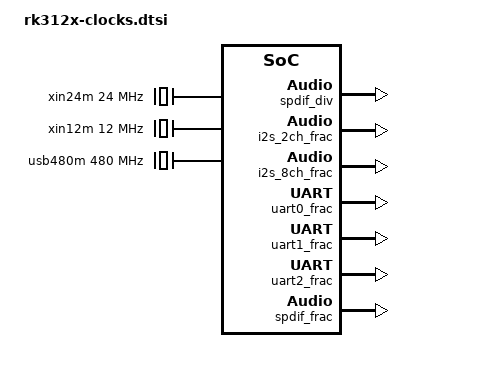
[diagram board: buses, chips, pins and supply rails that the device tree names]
/*
 * Copyright (C) 2014 ROCKCHIP, Inc.
 *
 * This program is free software; you can redistribute it and/or modify
 * it under the terms of the GNU General Public License as published by
 * the Free Software Foundation; either version 2 of the License, or
 * (at your option) any later version.
 *
 * This program is distributed in the hope that it will be useful,
 * but WITHOUT ANY WARRANTY; without even the implied warranty of
 * MERCHANTABILITY or FITNESS FOR A PARTICULAR PURPOSE.  See the
 * GNU General Public License for more details.
 */
#include <dt-bindings/clock/rockchip,rk312x.h>

/{

	clocks {
		compatible = "rockchip,rk-clocks";
		#address-cells = <1>;
		#size-cells = <1>;
		ranges = <0x0  0x20000000  0x1f0>;

		fixed_rate_cons {
			compatible = "rockchip,rk-fixed-rate-cons";

			xin24m: xin24m {
				compatible = "rockchip,rk-fixed-clock";
				clock-output-names = "xin24m";
				clock-frequency = <24000000>;
				#clock-cells = <0>;
			};

			xin12m: xin12m {
				compatible = "rockchip,rk-fixed-clock";
				clocks = <&xin24m>;
				clock-output-names = "xin12m";
				clock-frequency = <12000000>;
				#clock-cells = <0>;
			};

			gmac_clkin: rmii_clkin {
				compatible = "rockchip,rk-fixed-clock";
				clock-output-names = "gmac_clkin";
				clock-frequency = <0>;
				#clock-cells = <0>;
			};

			usb480m: usb480m {
				compatible = "rockchip,rk-fixed-clock";
				clock-output-names = "usb480m";
				clock-frequency = <480000000>;
				#clock-cells = <0>;
			};

			i2s_clkin: i2s_clkin {
				compatible = "rockchip,rk-fixed-clock";
				clock-output-names = "i2s_clkin";
				clock-frequency = <0>;
				#clock-cells = <0>;
			};

			jtag_tck: jtag_tck {
				compatible = "rockchip,rk-fixed-clock";
				clock-output-names = "jtag_tck";
				clock-frequency = <0>;
				#clock-cells = <0>;
			};

			pclkin_cif: pclkin_cif {
				compatible = "rockchip,rk-fixed-clock";
				clock-output-names = "pclkin_cif";
				clock-frequency = <0>;
				#clock-cells = <0>;
			};

			clk_tsp_in: clk_tsp_in {
				compatible = "rockchip,rk-fixed-clock";
				clock-output-names = "clk_tsp_in";
				clock-frequency = <0>;
				#clock-cells = <0>;
			};


			dummy: dummy {
				compatible = "rockchip,rk-fixed-clock";
				clock-output-names = "dummy";
				clock-frequency = <0>;
				#clock-cells = <0>;
			};

			dummy_cpll: dummy_cpll {
				compatible = "rockchip,rk-fixed-clock";
				clock-output-names = "dummy_cpll";
				clock-frequency = <0>;
				#clock-cells = <0>;
			};

		};

		fixed_factor_cons {
			compatible = "rockchip,rk-fixed-factor-cons";

			clk_gpll_div2: clk_gpll_div2 {
				compatible = "rockchip,rk-fixed-factor-clock";
				clocks = <&clk_gpll>;
				clock-output-names = "clk_gpll_div2";
				clock-div = <2>;
				clock-mult = <20>;
				#clock-cells = <0>;
			};

			clk_gpll_div3: clk_gpll_div3 {
				compatible = "rockchip,rk-fixed-factor-clock";
				clocks = <&clk_gpll>;
				clock-output-names = "clk_gpll_div3";
				clock-div = <3>;
				clock-mult = <20>;
				#clock-cells = <0>;
			};

			clk_pvtm_func: clk_pvtm_func {
				compatible = "rockchip,rk-fixed-factor-clock";
				clocks = <&xin24m>;
				clock-output-names = "clk_pvtm_func";
				clock-div = <1>;
				clock-mult = <20>;
				#clock-cells = <0>;
			};

			hclk_vepu: hclk_vepu {
				compatible = "rockchip,rk-fixed-factor-clock";
				clocks = <&clk_vepu>;
				clock-output-names = "hclk_vepu";
				clock-div = <4>;
				clock-mult = <1>;
				#clock-cells = <0>;
			};

			hclk_vdpu: hclk_vdpu {
				compatible = "rockchip,rk-fixed-factor-clock";
				clocks = <&clk_vdpu>;
				clock-output-names = "hclk_vdpu";
				clock-div = <4>;
				clock-mult = <1>;
				#clock-cells = <0>;
			};

		};

		clock_regs {
			compatible = "rockchip,rk-clock-regs";
			#address-cells = <1>;
			#size-cells = <1>;
			reg = <0x0000 0x01f0>;
			ranges;

			/* PLL control regs */
			pll_cons {
				compatible = "rockchip,rk-pll-cons";
				#address-cells = <1>;
				#size-cells = <1>;
				ranges ;

				clk_apll: pll-clk@0000 {
					compatible = "rockchip,rk3188-pll-clk";
					reg = <0x0000 0x10>;
					mode-reg = <0x0040 0>;
					status-reg = <0x0004 10>;
					clocks = <&xin24m>;
					clock-output-names = "clk_apll";
					rockchip,pll-type = <CLK_PLL_3036_APLL>;
					#clock-cells = <0>;
				};

				clk_dpll: pll-clk@0010 {
					compatible = "rockchip,rk3188-pll-clk";
					reg = <0x0010 0x10>;
					mode-reg = <0x0040 4>;
					status-reg = <0x0014 10>;
					clocks = <&xin24m>;
					clock-output-names = "clk_dpll";
					rockchip,pll-type = <CLK_PLL_3036PLUS_AUTO>;
					#clock-cells = <0>;
				};

				clk_cpll: pll-clk@0020 {
					compatible = "rockchip,rk3188-pll-clk";
					reg = <0x0020 0x10>;
					mode-reg = <0x0040 8>;
					status-reg = <0x0024 10>;
					clocks = <&xin24m>;
					clock-output-names = "clk_cpll";
					rockchip,pll-type = <CLK_PLL_312XPLUS>;
					#clock-cells = <0>;
				};

				clk_gpll: pll-clk@0030 {
					compatible = "rockchip,rk3188-pll-clk";
					reg = <0x0030 0x10>;
					mode-reg = <0x0040 12>;
					status-reg = <0x0034 10>;
					clocks = <&xin24m>;
					clock-output-names = "clk_gpll";
					rockchip,pll-type = <CLK_PLL_3036PLUS_AUTO>;
					#clock-cells = <0>;
					#clock-init-cells = <1>;
				};

			};

			/* Select control regs */
			clk_sel_cons {
				compatible = "rockchip,rk-sel-cons";
				#address-cells = <1>;
				#size-cells = <1>;
				ranges;

				clk_sel_con0: sel-con@0044 {
					compatible = "rockchip,rk3188-selcon";
					reg = <0x0044 0x4>;
					#address-cells = <1>;
					#size-cells = <1>;

					clk_core_div: clk_core_div {
						compatible = "rockchip,rk3188-div-con";
						rockchip,bits = <0 5>;
						clocks = <&clk_core>;
						clock-output-names = "clk_core";
						rockchip,div-type = <CLK_DIVIDER_PLUS_ONE>;
						#clock-cells = <0>;
						rockchip,clkops-idx = <CLKOPS_RATE_CORE>;
						rockchip,flags = <(CLK_GET_RATE_NOCACHE |
									CLK_SET_RATE_NO_REPARENT)>;
					};

					/* reg[6:5]: reserved */

					clk_core: clk_core_mux {
						compatible = "rockchip,rk3188-mux-con";
						rockchip,bits = <7 1>;
						clocks = <&clk_apll>, <&clk_gpll_div2>;
						clock-output-names = "clk_core";
						#clock-cells = <0>;
						#clock-init-cells = <1>;
					};

					aclk_cpu_pre_div: aclk_cpu_pre_div {
						compatible = "rockchip,rk3188-div-con";
						rockchip,bits = <8 5>;
						clocks = <&aclk_cpu_pre>;
						clock-output-names = "aclk_cpu_pre";
						rockchip,div-type = <CLK_DIVIDER_PLUS_ONE>;
						#clock-cells = <0>;
						rockchip,clkops-idx =
							<CLKOPS_RATE_MUX_DIV>;
						rockchip,flags = <CLK_SET_RATE_NO_REPARENT>;
					};

					aclk_cpu_pre: aclk_cpu_pre_mux {
						compatible = "rockchip,rk3188-mux-con";
						rockchip,bits = <13 2>;
						clocks = <&clk_apll>, <&clk_gpll>,<&clk_gpll_div2>,<&clk_gpll_div3>;
						clock-output-names = "aclk_cpu_pre";
						#clock-cells = <0>;
						#clock-init-cells = <1>;
					};
					
					/* reg[15]: reserved */

				};

				clk_sel_con1: sel-con@0048 {
					compatible = "rockchip,rk3188-selcon";
					reg = <0x0048 0x4>;
					#address-cells = <1>;
					#size-cells = <1>;

					pclk_dbg_div:  pclk_dbg_div {
						compatible = "rockchip,rk3188-div-con";
						rockchip,bits = <0 4>;
						clocks = <&clk_core>;
						clock-output-names = "pclk_dbg";
						rockchip,div-type = <CLK_DIVIDER_PLUS_ONE>;
						#clock-cells = <0>;
						rockchip,clkops-idx = <CLKOPS_RATE_CORE_CHILD>;
					};

					aclk_core_pre: aclk_core_pre_div {
						compatible = "rockchip,rk3188-div-con";
						rockchip,bits = <4 3>;
						clocks = <&clk_core>;
						clock-output-names = "aclk_core_pre";
						rockchip,div-type = <CLK_DIVIDER_PLUS_ONE>;
						#clock-cells = <0>;
						rockchip,clkops-idx = <CLKOPS_RATE_CORE_CHILD>;
					};

					/* reg[7]: reserved */

					hclk_cpu_pre: hclk_cpu_pre_div {
						compatible = "rockchip,rk3188-div-con";
						rockchip,bits = <8 2>;
						clocks = <&aclk_cpu_pre>;
						clock-output-names = "hclk_cpu_pre";
						rockchip,div-type = <CLK_DIVIDER_PLUS_ONE>;
						#clock-cells = <0>;
						#clock-init-cells = <1>;
					};

					/* reg[11:10]: reserved */

					pclk_cpu_pre: pclk_cpu_pre_div {
						compatible = "rockchip,rk3188-div-con";
						rockchip,bits = <12 3>;
						clocks = <&aclk_cpu_pre>;
						clock-output-names = "pclk_cpu_pre";
						rockchip,div-type = <CLK_DIVIDER_PLUS_ONE>;
						#clock-cells = <0>;
						#clock-init-cells = <1>;
					};

					/* reg[15]: reserved */
				};

				clk_sel_con2: sel-con@004c {
					compatible = "rockchip,rk3188-selcon";
					reg = <0x004c 0x4>;
					#address-cells = <1>;
					#size-cells = <1>;

					clk_pvtm_div: clk_pvtm_div {
						compatible = "rockchip,rk3188-mux-con";
						rockchip,bits = <0 7>;
						clocks = <&clk_pvtm_func>;
						clock-output-names = "clk_pvtm";
						rockchip,div-type = <CLK_DIVIDER_PLUS_ONE>;
						#clock-cells = <0>;
						#clock-init-cells = <1>;
					};

					/* reg[7]: reserved */

					clk_nandc_div: clk_nandc_div {
						compatible = "rockchip,rk3188-div-con";
						rockchip,bits = <8 5>;
						clocks = <&clk_nandc>;
						clock-output-names = "clk_nandc";
						rockchip,div-type = <CLK_DIVIDER_PLUS_ONE>;
						#clock-cells = <0>;
						rockchip,clkops-idx =
							<CLKOPS_RATE_MUX_DIV>;
					};

					/* reg[13]: reserved */
	
					clk_nandc: clk_nandc_mux {
						compatible = "rockchip,rk3188-mux-con";
						rockchip,bits = <14 2>;
						clocks = <&clk_cpll>, <&clk_gpll>, <&clk_gpll_div2>;
						clock-output-names = "clk_nandc";
						#clock-cells = <0>;
					};

				};

				clk_sel_con3: sel-con@0050 {
					compatible = "rockchip,rk3188-selcon";
					reg = <0x0050 0x4>;
					#address-cells = <1>;
					#size-cells = <1>;

					clk_i2s_2ch_pll_div: clk_i2s_2ch_pll_div {
						compatible = "rockchip,rk3188-div-con";
						rockchip,bits = <0 7>;
						clocks = <&clk_i2s_2ch_pll>;
						clock-output-names = "clk_i2s_2ch_pll";
						rockchip,div-type = <CLK_DIVIDER_PLUS_ONE>;
						#clock-cells = <0>;
						rockchip,clkops-idx =
							<CLKOPS_RATE_MUX_DIV>;
						rockchip,flags = <CLK_SET_RATE_NO_REPARENT>;
					};

					/* reg[7]: reserved */

					clk_i2s_2ch: clk_i2s_2ch_mux {
						compatible = "rockchip,rk3188-mux-con";
						rockchip,bits = <8 2>;
						clocks = <&clk_i2s_2ch_pll_div>, <&i2s_2ch_frac>, <&i2s_clkin>, <&xin12m>;
						clock-output-names = "clk_i2s_2ch";
						#clock-cells = <0>;
						rockchip,clkops-idx =
							<CLKOPS_RATE_RK3288_I2S>;
						rockchip,flags = <CLK_SET_RATE_PARENT>;
					};

					/* reg[11:10]: reserved */

					clk_i2s_2ch_out: clk_i2s_2ch_out_mux {
						compatible = "rockchip,rk3188-mux-con";
						rockchip,bits = <12 1>;
						clocks = <&clk_i2s_2ch>, <&xin12m>;
						clock-output-names = "i2s_clkout";
						#clock-cells = <0>;
					};

					/* reg[13]: reserved */

					clk_i2s_2ch_pll: i2s_2ch_pll_mux {
						compatible = "rockchip,rk3188-mux-con";
						rockchip,bits = <14 2>;
						clocks = <&clk_cpll>,<&clk_gpll>, <&clk_gpll_div2>;
						clock-output-names = "clk_i2s_2ch_pll";
						#clock-cells = <0>;
						#clock-init-cells = <1>;
					};

				};

				clk_sel_con4: sel-con@0054 {
					compatible = "rockchip,rk3188-selcon";
					reg = <0x0054 0x4>;
					#address-cells = <1>;
					#size-cells = <1>;

					clk_tsp_div: clk_tsp_div {
						compatible = "rockchip,rk3188-div-con";
						rockchip,bits = <0 5>;
						clocks = <&clk_tsp>;
						clock-output-names = "clk_tsp";
						rockchip,div-type = <CLK_DIVIDER_PLUS_ONE>;
						#clock-cells = <0>;
						rockchip,clkops-idx =
							<CLKOPS_RATE_MUX_DIV>;
					};

					/* reg[5]: reserved */
	
					clk_tsp: clk_tsp_mux {
						compatible = "rockchip,rk3188-mux-con";
						rockchip,bits = <6 2>;
						clocks = <&clk_cpll>, <&clk_gpll>, <&clk_gpll_div2>;
						clock-output-names = "clk_tsp";
						#clock-cells = <0>;
						#clock-init-cells = <1>;
					};

					clk_24m_div: clk_24m_div {
						compatible = "rockchip,rk3188-div-con";
						rockchip,bits = <8 5>;
						clocks = <&xin24m>;
						clock-output-names = "clk_24m";
						#clock-cells = <0>;
					};

					/* reg[15:13]: reserved */
					
				};


				clk_sel_con5: sel-con@0058 {
					compatible = "rockchip,rk3188-selcon";
					reg = <0x0058 0x4>;
					#address-cells = <1>;
					#size-cells = <1>;

					clk_mac_pll_div: clk_mac_pll_div {
						compatible = "rockchip,rk3188-div-con";
						rockchip,bits = <0 5>;
						clocks = <&clk_mac_pll>;
						clock-output-names = "clk_mac_pll";
						rockchip,div-type = <CLK_DIVIDER_PLUS_ONE>;
						#clock-cells = <0>;
						rockchip,clkops-idx =
							<CLKOPS_RATE_MUX_DIV>;
					};

					/* reg[5]: reserved */

					clk_mac_pll: clk_mac_pll_mux {
						compatible = "rockchip,rk3188-mux-con";
						rockchip,bits = <6 2>;
						clocks = <&clk_cpll>, <&clk_gpll>, <&clk_gpll_div2>;
						clock-output-names = "clk_mac_pll";
						#clock-cells = <0>;
						#clock-init-cells = <1>;
					};

					/* reg[14:8]: reserved */

					clk_mac_ref: clk_mac_ref_mux {
						compatible = "rockchip,rk3188-mux-con";
						rockchip,bits = <15 1>;
						clocks = <&clk_mac_pll_div>, <&gmac_clkin>;
						clock-output-names = "clk_mac_ref";
						#clock-cells = <0>;
						rockchip,clkops-idx =
							<CLKOPS_RATE_MAC_REF>;
						rockchip,flags = <CLK_SET_RATE_PARENT>;
						#clock-init-cells = <1>;
					};

				};
				
				
				clk_sel_con6: sel-con@005c {
					compatible = "rockchip,rk3188-selcon";
					reg = <0x005c 0x4>;
					#address-cells = <1>;
					#size-cells = <1>;

					spdif_div: spdif_div {
						compatible = "rockchip,rk3188-div-con";
						rockchip,bits = <0 7>;
						clocks = <&clk_spdif_pll>;
						clock-output-names = "clk_spdif_pll";
						rockchip,div-type = <CLK_DIVIDER_PLUS_ONE>;
						#clock-cells = <0>;
						rockchip,clkops-idx =
							<CLKOPS_RATE_MUX_DIV>;
						rockchip,flags = <CLK_SET_RATE_NO_REPARENT>;
					};

					/* reg[7]: reserved */

					clk_spdif: spdif_mux {
						compatible = "rockchip,rk3188-mux-con";
						rockchip,bits = <8 2>;
						clocks = <&spdif_div>, <&spdif_frac>, <&xin12m>;
						clock-output-names = "clk_spdif";
						#clock-cells = <0>;
						rockchip,clkops-idx =
							<CLKOPS_RATE_RK3288_I2S>;
						rockchip,flags = <CLK_SET_RATE_PARENT>;
					};
					
					/* reg[13:10]: reserved */

					clk_spdif_pll: spdif_pll_mux {
						compatible = "rockchip,rk3188-mux-con";
						rockchip,bits = <14 2>;
						clocks = <&clk_cpll>,<&clk_gpll>, <&clk_gpll_div2>;
						clock-output-names = "clk_spdif_pll";
						#clock-cells = <0>;
						#clock-init-cells = <1>;
					};

				};

				clk_sel_con7: sel-con@0060 {
					compatible = "rockchip,rk3188-selcon";
					reg = <0x0060 0x4>;
					#address-cells = <1>;
					#size-cells = <1>;

					i2s_2ch_frac: i2s_2ch_frac {
						compatible = "rockchip,rk3188-frac-con";
						clocks = <&clk_i2s_2ch_pll>;
						clock-output-names = "i2s_2ch_frac";
						/* numerator	denominator */
						rockchip,bits = <0 32>;
						rockchip,clkops-idx =
							<CLKOPS_RATE_FRAC>;
						#clock-cells = <0>;
					};
				};

				clk_sel_con8: sel-con@0064 {
					compatible = "rockchip,rk3188-selcon";
					reg = <0x0064 0x4>;
					#address-cells = <1>;
					#size-cells = <1>;

					i2s_8ch_frac: i2s_8ch_frac {
						compatible = "rockchip,rk3188-frac-con";
						clocks = <&clk_i2s_8ch_pll>;
						clock-output-names = "i2s_8ch_frac";
						/* numerator	denominator */
						rockchip,bits = <0 32>;
						rockchip,clkops-idx =
							<CLKOPS_RATE_FRAC>;
						#clock-cells = <0>;
					};
				};

				clk_sel_con9: sel-con@0068 {
					compatible = "rockchip,rk3188-selcon";
					reg = <0x0068 0x4>;
					#address-cells = <1>;
					#size-cells = <1>;

					clk_i2s_8ch_pll_div: clk_i2s_8ch_pll_div {
						compatible = "rockchip,rk3188-div-con";
						rockchip,bits = <0 7>;
						clocks = <&clk_i2s_8ch_pll>;
						clock-output-names = "clk_i2s_8ch_pll";
						rockchip,div-type = <CLK_DIVIDER_PLUS_ONE>;
						#clock-cells = <0>;
						rockchip,clkops-idx =
							<CLKOPS_RATE_MUX_DIV>;
						rockchip,flags = <CLK_SET_RATE_NO_REPARENT>;
					};

					/* reg[7]: reserved */

					clk_i2s_8ch: clk_i2s_8ch_mux {
						compatible = "rockchip,rk3188-mux-con";
						rockchip,bits = <8 2>;
						clocks = <&clk_i2s_8ch_pll_div>, <&i2s_8ch_frac>, <&i2s_clkin>, <&xin12m>;
						clock-output-names = "clk_i2s_8ch";
						#clock-cells = <0>;
						rockchip,clkops-idx =
							<CLKOPS_RATE_RK3288_I2S>;
						rockchip,flags = <CLK_SET_RATE_PARENT>;
					};

					/* reg[13:10]: reserved */

					clk_i2s_8ch_pll: i2s_8ch_pll_mux {
						compatible = "rockchip,rk3188-mux-con";
						rockchip,bits = <14 2>;
						clocks = <&clk_cpll>,<&clk_gpll>, <&clk_gpll_div2>;
						clock-output-names = "clk_i2s_8ch_pll";
						#clock-cells = <0>;
						#clock-init-cells = <1>;
					};

				};

				clk_sel_con10: sel-con@006c {
					compatible = "rockchip,rk3188-selcon";
					reg = <0x006c 0x4>;
					#address-cells = <1>;
					#size-cells = <1>;

					aclk_peri_pre_div: aclk_peri_pre_div {
						compatible = "rockchip,rk3188-div-con";
						rockchip,bits = <0 5>;
						clocks = <&aclk_peri_pre>;
						clock-output-names = "aclk_peri_pre";
						rockchip,div-type = <CLK_DIVIDER_PLUS_ONE>;
						#clock-cells = <0>;
						rockchip,clkops-idx =
							<CLKOPS_RATE_MUX_DIV>;
						rockchip,flags = <CLK_SET_RATE_NO_REPARENT>;
					};

					/* reg[7:5]: reserved */

					hclk_peri_pre: hclk_peri_pre_div {
						compatible = "rockchip,rk3188-div-con";
						rockchip,bits = <8 2>;
						clocks = <&aclk_peri_pre>;
						clock-output-names = "hclk_peri_pre";
						rockchip,div-type = <CLK_DIVIDER_USER_DEFINE>;
						rockchip,div-relations =
								<0x0 1
								 0x1 2
								 0x2 4>;
						#clock-cells = <0>;
						#clock-init-cells = <1>;
					};

					/* reg[11:10]: reserved */

					pclk_peri_pre: pclk_peri_div {
						compatible = "rockchip,rk3188-div-con";
						rockchip,bits = <12 2>;
						clocks = <&aclk_peri_pre>;
						clock-output-names = "pclk_peri_pre";
						rockchip,div-type = <CLK_DIVIDER_USER_DEFINE>;
						rockchip,div-relations =
								<0x0 1
								 0x1 2
								 0x2 4
								 0x3 8>;
						#clock-cells = <0>;
						#clock-init-cells = <1>;
					};

					aclk_peri_pre: aclk_peri_pre_mux {
						compatible = "rockchip,rk3188-mux-con";
						rockchip,bits = <14 2>;
						clocks = <&clk_gpll>,<&clk_cpll>,<&clk_gpll_div2>,<&clk_gpll_div3>;
						clock-output-names = "aclk_peri_pre";
						#clock-cells = <0>;
						#clock-init-cells = <1>;
					};
				};

				clk_sel_con11: sel-con@0070 {
					compatible = "rockchip,rk3188-selcon";
					reg = <0x0070 0x4>;
					#address-cells = <1>;
					#size-cells = <1>;

					clk_sdmmc0_div: clk_sdmmc0_div {
						compatible = "rockchip,rk3188-div-con";
						rockchip,bits = <0 6>;
						clocks = <&clk_sdmmc0>;
						clock-output-names = "clk_sdmmc0";
						rockchip,div-type = <CLK_DIVIDER_PLUS_ONE>;
						#clock-cells = <0>;
						rockchip,clkops-idx =
							<CLKOPS_RATE_MUX_EVENDIV>;
					};

					clk_sdmmc0: clk_sdmmc0_mux {
						compatible = "rockchip,rk3188-mux-con";
						rockchip,bits = <6 2>;
						clocks = <&clk_cpll>,<&clk_gpll>,<&clk_gpll_div2>,<&xin24m>;
						clock-output-names = "clk_sdmmc0";
						#clock-cells = <0>;
						#clock-init-cells = <1>;
					};

					clk_sfc_div: clk_sfc_div {
						compatible = "rockchip,rk3188-div-con";
						rockchip,bits = <8 5>;
						clocks = <&clk_sfc>;
						clock-output-names = "clk_sfc";
						rockchip,div-type = <CLK_DIVIDER_PLUS_ONE>;
						#clock-cells = <0>;
						rockchip,clkops-idx =
							<CLKOPS_RATE_MUX_EVENDIV>;
					};

					/* reg[13]: reserved */

					clk_sfc: clk_sfc_mux {
						compatible = "rockchip,rk3188-mux-con";
						rockchip,bits = <14 2>;
						clocks = <&clk_cpll>,<&clk_gpll>,<&clk_gpll_div2>,<&xin24m>;
						clock-output-names = "clk_sfc";
						#clock-cells = <0>;
						#clock-init-cells = <1>;
					};

				};

				clk_sel_con12: sel-con@0074 {
					compatible = "rockchip,rk3188-selcon";
					reg = <0x0074 0x4>;
					#address-cells = <1>;
					#size-cells = <1>;

					clk_sdio_div: clk_sdio_div {
						compatible = "rockchip,rk3188-div-con";
						rockchip,bits = <0 6>;
						clocks = <&clk_sdio>;
						clock-output-names = "clk_sdio";
						rockchip,div-type = <CLK_DIVIDER_PLUS_ONE>;
						#clock-cells = <0>;
						rockchip,clkops-idx =
							<CLKOPS_RATE_MUX_EVENDIV>;
					};

					clk_sdio: clk_sdio_mux {
						compatible = "rockchip,rk3188-mux-con";
						rockchip,bits = <6 2>;
						clocks = <&clk_cpll>,<&clk_gpll>, <&clk_gpll_div2>, <&xin24m>;
						clock-output-names = "clk_sdio";
						#clock-cells = <0>;
					};

					clk_emmc_div: clk_emmc_div {
						compatible = "rockchip,rk3188-div-con";
						rockchip,bits = <8 6>;
						clocks = <&clk_emmc>;
						clock-output-names = "clk_emmc";
						rockchip,div-type = <CLK_DIVIDER_PLUS_ONE>;
						#clock-cells = <0>;
						rockchip,clkops-idx =
							<CLKOPS_RATE_MUX_EVENDIV>;
					};

					clk_emmc: clk_emmc_mux {
						compatible = "rockchip,rk3188-mux-con";
						rockchip,bits = <14 2>;
						clocks = <&clk_cpll>,<&clk_gpll>, <&clk_gpll_div2>, <&xin24m>;
						clock-output-names = "clk_emmc";
						#clock-cells = <0>;
					};

				};

				clk_sel_con13: sel-con@0078 {
					compatible = "rockchip,rk3188-selcon";
					reg = <0x0078 0x4>;
					#address-cells = <1>;
					#size-cells = <1>;

					clk_uart0_pll_div: clk_uart0_pll_div {
						compatible = "rockchip,rk3188-div-con";
						rockchip,bits = <0 7>;
						clocks = <&clk_uart0_pll>;
						clock-output-names = "clk_uart0_pll";
						rockchip,div-type = <CLK_DIVIDER_PLUS_ONE>;
						#clock-cells = <0>;
					};

					/* reg[7]: reserved */

					clk_uart0: clk_uart0_mux {
						compatible = "rockchip,rk3188-mux-con";
						rockchip,bits = <8 2>;
						clocks = <&clk_uart0_pll>, <&uart0_frac>, <&xin24m>;
						clock-output-names = "clk_uart0";
						#clock-cells = <0>;
						rockchip,clkops-idx =
							<CLKOPS_RATE_RK3288_I2S>;
						rockchip,flags = <CLK_SET_RATE_PARENT>;
					};

					/* reg[11:10]: reserved */

					clk_uart0_pll: clk_uart0_pll_mux {
						compatible = "rockchip,rk3188-mux-con";
						rockchip,bits = <12 2>;
						clocks = <&clk_cpll>,<&clk_gpll>, <&clk_gpll_div2>, <&usb480m>;
						clock-output-names = "clk_uart0_pll";
						#clock-cells = <0>;
						#clock-init-cells = <1>;
					};

					clk_uart2_pll: clk_uart2_pll_mux {
						compatible = "rockchip,rk3188-mux-con";
						rockchip,bits = <14 2>;
						clocks = <&clk_cpll>,<&clk_gpll>, <&clk_gpll_div2>, <&usb480m>;
						clock-output-names = "clk_uart2_pll";
						#clock-cells = <0>;
						#clock-init-cells = <1>;
					};

				};

				clk_sel_con14: sel-con@007c {
					compatible = "rockchip,rk3188-selcon";
					reg = <0x007c 0x4>;
					#address-cells = <1>;
					#size-cells = <1>;

					clk_uart1_div: clk_uart1_div {
						compatible = "rockchip,rk3188-div-con";
						rockchip,bits = <0 7>;
						clocks = <&clk_uart2_pll>;
						clock-output-names = "clk_uart1_div";
						rockchip,div-type = <CLK_DIVIDER_PLUS_ONE>;
						#clock-cells = <0>;
					};

					/* reg[7]: reserved */

					clk_uart1: clk_uart1_mux {
						compatible = "rockchip,rk3188-mux-con";
						rockchip,bits = <8 2>;
						clocks = <&clk_uart1_div>, <&uart1_frac>, <&xin24m>;
						clock-output-names = "clk_uart1";
						#clock-cells = <0>;
						rockchip,clkops-idx =
							<CLKOPS_RATE_RK3288_I2S>;
						rockchip,flags = <CLK_SET_RATE_PARENT>;
					};

					/* reg[15:10]: reserved */
				};

				clk_sel_con15: sel-con@0080 {
					compatible = "rockchip,rk3188-selcon";
					reg = <0x0080 0x4>;
					#address-cells = <1>;
					#size-cells = <1>;

					clk_uart2_div: clk_uart2_div {
						compatible = "rockchip,rk3188-div-con";
						rockchip,bits = <0 7>;
						clocks = <&clk_uart2_pll>;
						clock-output-names = "clk_uart2_div";
						rockchip,div-type = <CLK_DIVIDER_PLUS_ONE>;
						#clock-cells = <0>;
					};

					/* reg[7]: reserved */

					clk_uart2: clk_uart2_mux {
						compatible = "rockchip,rk3188-mux-con";
						rockchip,bits = <8 2>;
						clocks = <&clk_uart2_div>, <&uart2_frac>, <&xin24m>;
						clock-output-names = "clk_uart2";
						#clock-cells = <0>;
						rockchip,clkops-idx =
							<CLKOPS_RATE_RK3288_I2S>;
						rockchip,flags = <CLK_SET_RATE_PARENT>;
					};

					/* reg[15:10]: reserved */
				};

				clk_sel_con17: sel-con@0088 {
					compatible = "rockchip,rk3188-selcon";
					reg = <0x0088 0x4>;
					#address-cells = <1>;
					#size-cells = <1>;

					uart0_frac: uart0_frac {
						compatible = "rockchip,rk3188-frac-con";
						clocks = <&clk_uart0_pll>;
						clock-output-names = "uart0_frac";
						/* numerator	denominator */
						rockchip,bits = <0 32>;
						rockchip,clkops-idx =
							<CLKOPS_RATE_FRAC>;
						#clock-cells = <0>;
					};
				};

				clk_sel_con18: sel-con@008c {
					compatible = "rockchip,rk3188-selcon";
					reg = <0x008c 0x4>;
					#address-cells = <1>;
					#size-cells = <1>;

					uart1_frac: uart1_frac {
						compatible = "rockchip,rk3188-frac-con";
						clocks = <&clk_uart1_div>;
						clock-output-names = "uart1_frac";
						/* numerator	denominator */
						rockchip,bits = <0 32>;
						rockchip,clkops-idx =
							<CLKOPS_RATE_FRAC>;
						#clock-cells = <0>;
					};
				};

				clk_sel_con19: sel-con@0090 {
					compatible = "rockchip,rk3188-selcon";
					reg = <0x0090 0x4>;
					#address-cells = <1>;
					#size-cells = <1>;

					uart2_frac: uart2_frac {
						compatible = "rockchip,rk3188-frac-con";
						clocks = <&clk_uart2_div>;
						clock-output-names = "uart2_frac";
						/* numerator	denominator */
						rockchip,bits = <0 32>;
						rockchip,clkops-idx =
							<CLKOPS_RATE_FRAC>;
						#clock-cells = <0>;
					};

				};

				clk_sel_con20: sel-con@0094 {
					compatible = "rockchip,rk3188-selcon";
					reg = <0x0094 0x4>;
					#address-cells = <1>;
					#size-cells = <1>;

					spdif_frac: spdif_frac {
						compatible = "rockchip,rk3188-frac-con";
						clocks = <&spdif_div>;
						clock-output-names = "spdif_frac";
						/* numerator	denominator */
						rockchip,bits = <0 32>;
						rockchip,clkops-idx =
							<CLKOPS_RATE_FRAC>;
						#clock-cells = <0>;
					};

				};

				clk_sel_con23: sel-con@00a0 {
					compatible = "rockchip,rk3188-selcon";
					reg = <0x00a0 0x4>;
					#address-cells = <1>;
					#size-cells = <1>;
					
					dclk_ebc: dclk_ebc_mux {
						compatible = "rockchip,rk3188-mux-con";
						rockchip,bits = <0 2>;
						clocks = <&clk_cpll>,<&clk_gpll>, <&clk_gpll_div2>;
						clock-output-names = "dclk_ebc";
						#clock-cells = <0>;
					};

					/* reg[7:2]: reserved */

					dclk_ebc_div: dclk_ebc_div {
						compatible = "rockchip,rk3188-div-con";
						rockchip,bits = <8 8>;
						clocks = <&dclk_ebc>;
						clock-output-names = "dclk_ebc";
						rockchip,div-type = <CLK_DIVIDER_PLUS_ONE>;
						#clock-cells = <0>;
						rockchip,clkops-idx =
							<CLKOPS_RATE_MUX_DIV>;
					};	
				
				};

				clk_sel_con24: sel-con@00a4 {
					compatible = "rockchip,rk3188-selcon";
					reg = <0x00a4 0x4>;
					#address-cells = <1>;
					#size-cells = <1>;
					
					clk_crypto_div: clk_crypto_div {
						compatible = "rockchip,rk3188-div-con";
						rockchip,bits = <0 2>;
						clocks = <&aclk_cpu_pre>;
						clock-output-names = "clk_crypto";
						rockchip,div-type = <CLK_DIVIDER_PLUS_ONE>;
						#clock-cells = <0>;
						#clock-init-cells = <1>;
					};	

					/* reg[7:2]: reserved */

					clk_saradc: clk_saradc_div {
						compatible = "rockchip,rk3188-div-con";
						rockchip,bits = <8 8>;
						clocks = <&xin24m>;
						clock-output-names = "clk_saradc";
						rockchip,div-type = <CLK_DIVIDER_PLUS_ONE>;
						#clock-cells = <0>;
						#clock-init-cells = <1>;
					};	
				
				};

				clk_sel_con25: sel-con@00a8 {
					compatible = "rockchip,rk3188-selcon";
					reg = <0x00a8 0x4>;
					#address-cells = <1>;
					#size-cells = <1>;

					clk_spi0_div: clk_spi0_div {
						compatible = "rockchip,rk3188-div-con";
						rockchip,bits = <0 7>;
						clocks = <&clk_spi0>;
						clock-output-names = "clk_spi0";
						rockchip,div-type = <CLK_DIVIDER_PLUS_ONE>;
						#clock-cells = <0>;
						rockchip,clkops-idx =
							<CLKOPS_RATE_MUX_DIV>;
					};

					/* reg[7]: reserved */

					clk_spi0: clk_spi0_mux {
						compatible = "rockchip,rk3188-mux-con";
						rockchip,bits = <8 2>;
						clocks = <&clk_cpll>, <&clk_gpll>,<&clk_gpll_div2>;
						clock-output-names = "clk_spi0";
						#clock-cells = <0>;
					};

					/* reg[15:10]: reserved */

				};

				clk_sel_con26: sel-con@00ac {
					compatible = "rockchip,rk3188-selcon";
					reg = <0x00ac 0x4>;
					#address-cells = <1>;
					#size-cells = <1>;

					ddr_div: ddr_div {
						compatible = "rockchip,rk3188-div-con";
						rockchip,bits = <0 2>;
						clocks = <&clk_ddr>;
						clock-output-names = "clk_ddr";
						rockchip,div-type = <CLK_DIVIDER_USER_DEFINE>;
						rockchip,div-relations =
								<0x0 1
								 0x1 2
								 0x3 4>;
						#clock-cells = <0>;
						rockchip,flags = <(CLK_GET_RATE_NOCACHE |
									CLK_SET_RATE_NO_REPARENT)>;
						rockchip,clkops-idx = <CLKOPS_RATE_DDR>;
					};

					/* reg[7:2]: reserved */

					clk_ddr: ddr_clk_pll_mux {
						compatible = "rockchip,rk3188-mux-con";
						rockchip,bits = <8 1>;
						clocks = <&clk_dpll>, <&clk_gpll_div2>;
						clock-output-names = "clk_ddr";
						#clock-cells = <0>;
					};

					/* reg[15:9]: reserved */
				};

				clk_sel_con27: sel-con@00b0 {
					compatible = "rockchip,rk3188-selcon";
					reg = <0x00b0 0x4>;
					#address-cells = <1>;
					#size-cells = <1>;

					dclk_lcdc0: dclk_lcdc0_mux {
						compatible = "rockchip,rk3188-mux-con";
						rockchip,bits = <0 2>;
						clocks = <&clk_cpll>, <&clk_gpll>, <&clk_gpll_div2>, <&clk_gpll_div3>;
						clock-output-names = "dclk_lcdc0";
						#clock-cells = <0>;
						#clock-init-cells = <1>;
					};

					/* reg[7:2]: reserved */

					dclk_lcdc0_div: dclk_lcdc0_div {
						compatible = "rockchip,rk3188-div-con";
						rockchip,bits = <8 8>;
						clocks = <&dclk_lcdc0>;
						clock-output-names = "dclk_lcdc0";
						rockchip,div-type = <CLK_DIVIDER_PLUS_ONE>;
						#clock-cells = <0>;
						rockchip,clkops-idx =
							<CLKOPS_RATE_MUX_DIV>;
						rockchip,flags = <CLK_SET_RATE_NO_REPARENT>;
					};
				};

				clk_sel_con28: sel-con@00b4 {
					compatible = "rockchip,rk3188-selcon";
					reg = <0x00b4 0x4>;
					#address-cells = <1>;
					#size-cells = <1>;

					sclk_lcdc0: sclk_lcdc0_mux {
						compatible = "rockchip,rk3188-mux-con";
						rockchip,bits = <0 2>;
						clocks = <&clk_cpll>, <&clk_gpll>, <&clk_gpll_div2>, <&clk_gpll_div3>;
						clock-output-names = "sclk_lcdc0";
						#clock-cells = <0>;
						#clock-init-cells = <1>;
					};

					/* reg[7:2]: reserved */

					sclk_lcdc0_div: sclk_lcdc0_div {
						compatible = "rockchip,rk3188-div-con";
						rockchip,bits = <8 8>;
						clocks = <&sclk_lcdc0>;
						clock-output-names = "sclk_lcdc0";
						rockchip,div-type = <CLK_DIVIDER_PLUS_ONE>;
						#clock-cells = <0>;
						rockchip,clkops-idx =
							<CLKOPS_RATE_MUX_DIV>;
						rockchip,flags = <CLK_SET_RATE_NO_REPARENT>;
					};
				};

				clk_sel_con29: sel-con@00b8 {
					compatible = "rockchip,rk3188-selcon";
					reg = <0x00b8 0x4>;
					#address-cells = <1>;
					#size-cells = <1>;

					clk_cif_pll: clk_cif_pll_mux {
						compatible = "rockchip,rk3188-mux-con";
						rockchip,bits = <0 2>;
						clocks = <&clk_cpll>, <&clk_gpll>, <&clk_gpll_div2>, <&usb480m>;
						clock-output-names = "clk_cif_pll";
						#clock-cells = <0>;
						#clock-init-cells = <1>;
					};

					clk_cif_out_div: clk_cif_out_div {
						compatible = "rockchip,rk3188-div-con";
						rockchip,bits = <2 5>;
						clocks = <&clk_cif_out>;
						clock-output-names = "clk_cif_out";
						rockchip,div-type = <CLK_DIVIDER_PLUS_ONE>;
						#clock-cells = <0>;
						rockchip,clkops-idx =
							<CLKOPS_RATE_MUX_DIV>;
						rockchip,flags = <CLK_SET_RATE_NO_REPARENT>;
					};

					clk_cif_out: clk_cif_out_mux {
						compatible = "rockchip,rk3188-mux-con";
						rockchip,bits = <7 1>;
						clocks = <&clk_cif_pll>, <&xin24m>;
						clock-output-names = "clk_cif_out";
						#clock-cells = <0>;
						#clock-init-cells = <1>;
					};

					pclk_pmu_pre: pclk_pmu_pre_div {
						compatible = "rockchip,rk3188-div-con";
						rockchip,bits = <8 6>;
						clocks = <&clk_cpll>;
						clock-output-names = "pclk_pmu_pre";
						rockchip,div-type = <CLK_DIVIDER_PLUS_ONE>;
						#clock-cells = <0>;
						#clock-init-cells = <1>;
					};

					/* reg[15:14]: reserved */
				};

				clk_sel_con30: sel-con@00bc {
					compatible = "rockchip,rk3188-selcon";
					reg = <0x00bc 0x4>;
					#address-cells = <1>;
					#size-cells = <1>;

					clk_testout_div: clk_testout_div {
						compatible = "rockchip,rk3188-div-con";
						rockchip,bits = <0 5>;
						clocks = <&dummy>;
						clock-output-names = "clk_testout";
						rockchip,div-type = <CLK_DIVIDER_PLUS_ONE>;
						#clock-cells = <0>;
						#clock-init-cells = <1>;
					};

					/* reg[6:5]: reserved */

					clk_cif0_in: clk_cif0_in_mux {
						compatible = "rockchip,rk3188-mux-con";
						rockchip,bits = <7 1>;
						clocks = <&pclkin_cif>, <&dummy>;
						clock-output-names = "clk_cif0_in";
						#clock-cells = <0>;
						#clock-init-cells = <1>;
					};

					hclk_vio_pre_div: hclk_vio_pre_div {
						compatible = "rockchip,rk3188-div-con";
						rockchip,bits = <8 5>;
						clocks = <&hclk_vio_pre>;
						clock-output-names = "hclk_vio_pre";
						rockchip,div-type = <CLK_DIVIDER_PLUS_ONE>;
						#clock-cells = <0>;
						rockchip,clkops-idx =
							<CLKOPS_RATE_MUX_DIV>;
						rockchip,flags = <CLK_SET_RATE_NO_REPARENT>;
					};

					/* reg[13]: reserved */

					hclk_vio_pre: hclk_vio_pre_mux {
						compatible = "rockchip,rk3188-mux-con";
						rockchip,bits = <14 2>;
						clocks = <&clk_cpll>, <&clk_gpll>, <&clk_gpll_div2>, <&usb480m>;
						clock-output-names = "hclk_vio_pre";
						#clock-cells = <0>;
						#clock-init-cells = <1>;
					};

				};

				clk_sel_con31: sel-con@00c0 {
					compatible = "rockchip,rk3188-selcon";
					reg = <0x00c0 0x4>;
					#address-cells = <1>;
					#size-cells = <1>;

					aclk_vio0_pre_div: aclk_vio0_pre_div {
						compatible = "rockchip,rk3188-div-con";
						rockchip,bits = <0 5>;
						clocks = <&aclk_vio0_pre>;
						clock-output-names = "aclk_vio0_pre";
						rockchip,div-type = <CLK_DIVIDER_PLUS_ONE>;
						#clock-cells = <0>;
						rockchip,clkops-idx =
							<CLKOPS_RATE_MUX_DIV>;
						rockchip,flags = <CLK_SET_RATE_NO_REPARENT>;
					};

					aclk_vio0_pre: aclk_vio0_pre_mux {
						compatible = "rockchip,rk3188-mux-con";
						rockchip,bits = <5 3>;
						clocks = <&clk_cpll>, <&clk_gpll>, <&clk_gpll_div2>, <&clk_gpll_div3>, <&usb480m>;
						clock-output-names = "aclk_vio0_pre";
						#clock-cells = <0>;
						#clock-init-cells = <1>;
					};

					aclk_vio1_pre_div: aclk_vio1_pre_div {
						compatible = "rockchip,rk3188-div-con";
						rockchip,bits = <8 5>;
						clocks = <&aclk_vio1_pre>;
						clock-output-names = "aclk_vio1_pre";
						rockchip,div-type = <CLK_DIVIDER_PLUS_ONE>;
						#clock-cells = <0>;
						rockchip,clkops-idx =
							<CLKOPS_RATE_MUX_DIV>;
						rockchip,flags = <CLK_SET_RATE_NO_REPARENT>;
					};

					aclk_vio1_pre: aclk_vio1_pre_mux {
						compatible = "rockchip,rk3188-mux-con";
						rockchip,bits = <13 3>;
						clocks = <&clk_cpll>, <&clk_gpll>, <&clk_gpll_div2>, <&clk_gpll_div3>, <&usb480m>;
						clock-output-names = "aclk_vio1_pre";
						#clock-cells = <0>;
						#clock-init-cells = <1>;
					};

				};

				clk_sel_con32: sel-con@00c4 {
					compatible = "rockchip,rk3188-selcon";
					reg = <0x00c4 0x4>;
					#address-cells = <1>;
					#size-cells = <1>;

					clk_vepu_div: clk_vepu_div {
						compatible = "rockchip,rk3188-div-con";
						rockchip,bits = <0 5>;
						clocks = <&clk_vepu>;
						clock-output-names = "clk_vepu";
						rockchip,div-type = <CLK_DIVIDER_PLUS_ONE>;
						#clock-cells = <0>;
						rockchip,clkops-idx =
							<CLKOPS_RATE_MUX_DIV>;
					};

					clk_vepu: clk_vepu_mux {
						compatible = "rockchip,rk3188-mux-con";
						rockchip,bits = <5 3>;
						clocks = <&clk_cpll>, <&clk_gpll>, <&clk_gpll_div2>, <&clk_gpll_div3>, <&usb480m>;
						clock-output-names = "clk_vepu";
						#clock-cells = <0>;
						#clock-init-cells = <1>;
					};

					clk_vdpu_div: clk_vdpu_div {
						compatible = "rockchip,rk3188-div-con";
						rockchip,bits = <8 5>;
						clocks = <&clk_vdpu>;
						clock-output-names = "clk_vdpu";
						rockchip,div-type = <CLK_DIVIDER_PLUS_ONE>;
						#clock-cells = <0>;
						rockchip,clkops-idx =
							<CLKOPS_RATE_MUX_DIV>;
					};

					clk_vdpu: clk_vdpu_mux {
						compatible = "rockchip,rk3188-mux-con";
						rockchip,bits = <13 3>;
						clocks = <&clk_cpll>, <&clk_gpll>, <&clk_gpll_div2>, <&clk_gpll_div3>, <&usb480m>;
						clock-output-names = "clk_vdpu";
						#clock-cells = <0>;
						#clock-init-cells = <1>;
					};

				};

				clk_sel_con34: sel-con@00cc {
					compatible = "rockchip,rk3188-selcon";
					reg = <0x00cc 0x4>;
					#address-cells = <1>;
					#size-cells = <1>;

					clk_gpu_pre_div: clk_gpu_pre_div {
						compatible = "rockchip,rk3188-div-con";
						rockchip,bits = <0 5>;
						clocks = <&clk_gpu_pre>;
						clock-output-names = "clk_gpu_pre";
						rockchip,div-type = <CLK_DIVIDER_PLUS_ONE>;
						#clock-cells = <0>;
						rockchip,clkops-idx =
							<CLKOPS_RATE_MUX_DIV>;
						rockchip,flags = <CLK_SET_RATE_PARENT_IN_ORDER>;
					};

					clk_gpu_pre: clk_gpu_pre_mux {
						compatible = "rockchip,rk3188-mux-con";
						rockchip,bits = <5 3>;
						clocks = <&clk_cpll>, <&clk_gpll>, <&clk_gpll_div2>, <&clk_gpll_div3>, <&usb480m>;
						clock-output-names = "clk_gpu_pre";
						#clock-cells = <0>;
						#clock-init-cells = <1>;
					};

					clk_hevc_core_div: clk_hevc_core_div {
						compatible = "rockchip,rk3188-div-con";
						rockchip,bits = <8 5>;
						clocks = <&clk_hevc_core>;
						clock-output-names = "clk_hevc_core";
						rockchip,div-type = <CLK_DIVIDER_PLUS_ONE>;
						#clock-cells = <0>;
						rockchip,clkops-idx =
							<CLKOPS_RATE_MUX_DIV>;
					};

					clk_hevc_core: clk_hevc_core_mux {
						compatible = "rockchip,rk3188-mux-con";
						rockchip,bits = <13 3>;
						clocks = <&clk_cpll>, <&clk_gpll>, <&clk_gpll_div2>, <&clk_gpll_div3>, <&usb480m>;
						clock-output-names = "clk_hevc_core";
						#clock-cells = <0>;
						#clock-init-cells = <1>;
					};

				};

			};


			/* Gate control regs */
			clk_gate_cons {
				compatible = "rockchip,rk-gate-cons";
				#address-cells = <1>;
				#size-cells = <1>;
				ranges ;

				clk_gates0: gate-clk@00d0{
					compatible = "rockchip,rk3188-gate-clk";
					reg = <0x00d0 0x4>;
					clocks =
						<&clk_core>,		<&dummy>,
						<&dummy>,	<&aclk_cpu_pre>,

						<&aclk_cpu_pre>,	<&aclk_cpu_pre>,
						<&dummy>,		<&clk_core>,

						<&dummy>,	<&clk_i2s_2ch_pll>,
						<&i2s_2ch_frac>,	<&hclk_vio_pre>,

						<&aclk_cpu_pre>,		<&clk_i2s_2ch_out>,
						<&clk_i2s_2ch>,		<&dummy>;

					clock-output-names =
						"pclk_dbg",			"aclk_cpu_pre",	 /*clk_cpu_cpll*/
						"clk_ddr",		"aclk_cpu_pre",

						"hclk_cpu_pre",		"pclk_cpu_pre",
						"clk_core",		"aclk_core_pre",

						"reserved",		"clk_i2s_2ch_pll",
						"i2s_2ch_frac",		"hclk_vio_pre",

						"clk_crypto",		"clk_i2s_2ch_out",
						"clk_i2s_2ch",		"clk_testout";
					rockchip,suspend-clkgating-setting=<0x0 0x0>;

					#clock-cells = <1>;
				};

				clk_gates1: gate-clk@00d4{
					compatible = "rockchip,rk3188-gate-clk";
					reg = <0x00d4 0x4>;
					clocks =
						<&clk_cpll>,		<&dummy>,
						<&dummy>,		<&jtag_tck>,

						<&aclk_vio1_pre>,		<&xin12m>,
						<&xin12m>,		<&clk_mac_pll>,

						<&clk_uart0_pll>,		<&uart0_frac>,
						<&clk_uart1_div>,		<&uart1_frac>,

						<&clk_uart2_div>,		<&uart2_frac>,
						<&clk_tsp>,		<&dummy>;

					clock-output-names =
						"pclk_pmu_pre",		"reserved",
						"reserved",		"clk_jtag",

						"aclk_vio1_pre",		"clk_otgphy0",
						"clk_otgphy1",			"clk_mac_pll",

						"clk_uart0_pll",	"uart0_frac",
						"clk_uart1_div",	"uart1_frac",

						"clk_uart2_div",	"uart2_frac",
						"clk_tsp",	"reserved";

					 rockchip,suspend-clkgating-setting=<0x0 0x0>;
					#clock-cells = <1>;
				};

				clk_gates2: gate-clk@00d8 {
					compatible = "rockchip,rk3188-gate-clk";
					reg = <0x00d8 0x4>;
					clocks =
						<&dummy>,		<&aclk_peri_pre>,
						<&aclk_peri_pre>,		<&aclk_peri_pre>,

						<&clk_mac_ref>,		<&clk_mac_ref>,
						<&clk_mac_ref>,		<&clk_mac_ref>,

						<&clk_saradc>,		<&clk_spi0>,
						<&clk_spdif_pll>,		<&clk_sdmmc0>,

						<&spdif_frac>,		<&clk_sdio>,
						<&clk_emmc>,		<&xin24m>;
					clock-output-names =
						"aclk_peri_pre",		"aclk_peri_pre",
						"hclk_peri_pre",		"pclk_peri_pre",

						"clk_mac_ref",		"clk_mac_refout",
						"clk_mac_rx",		"clk_mac_tx",

						"clk_saradc",		"clk_spi0",
						"clk_spdif_pll",		"clk_sdmmc0",

						"spdif_frac",		"clk_sdio",
						"clk_emmc",		"clk_mipi_24m";
					    rockchip,suspend-clkgating-setting=<0x0 0x0>;

					#clock-cells = <1>;
				};

				clk_gates3: gate-clk@00dc {
					compatible = "rockchip,rk3188-gate-clk";
					reg = <0x00dc 0x4>;
					clocks =
						<&aclk_vio0_pre>,		<&dclk_lcdc0>,
						<&sclk_lcdc0>,		<&pclkin_cif>,

						<&dclk_ebc>,			<&hclk_cpu_pre>,
						<&hclk_peri_pre>,		<&clk_cif_pll>,

						<&pclk_cpu_pre>,		<&clk_vepu>,
						<&clk_hevc_core>,		<&clk_vdpu>,

						<&hclk_vdpu>,		<&clk_gpu_pre>,
						<&aclk_peri_pre>,		<&clk_sfc>;

					clock-output-names =
						"aclk_vio0_pre",		"dclk_lcdc0",
						"sclk_lcdc0",		"pclkin_cif",

						"dclk_ebc",		"g_hclk_crypto",
						"g_hclk_em_peri",		"clk_cif_pll",

						"g_pclk_hdmi",		"clk_vepu",
						"clk_hevc_core",		"clk_vdpu",

						"hclk_vdpu",		"clk_gpu_pre",
						"g_hclk_gps",		"clk_sfc";
                                       rockchip,suspend-clkgating-setting=<0x0000 0x0000>;

					#clock-cells = <1>;
				};

				clk_gates4: gate-clk@00e0{
					compatible = "rockchip,rk3188-gate-clk";
					reg = <0x00e0 0x4>;
					clocks =
						<&hclk_peri_pre>,		<&pclk_peri_pre>,
						<&aclk_peri_pre>,		<&aclk_peri_pre>,

						<&clk_i2s_8ch_pll>,		<&i2s_8ch_frac>,
						<&clk_i2s_8ch>,		<&dummy>,

						<&dummy>,		<&dummy>,
						<&aclk_cpu_pre>,		<&dummy>,

						<&aclk_cpu_pre>,		<&dummy>,
						<&dummy>,		<&dummy>;

					clock-output-names =
						"g_hp_axi_matrix",		"g_pp_axi_matrix",
						"g_aclk_cpu_peri",		"g_ap_axi_matrix",

						"clk_i2s_8ch_pll",		"i2s_8ch_frac",
						"clk_i2s_8ch",		"reserved",

						"reserved",		"reserved",
						"g_aclk_strc_sys",		"reserved",

						/* Not use these ddr gates */
						"g_aclk_intmem",		"reserved",
						"reserved",		"reserved";

					rockchip,suspend-clkgating-setting = <0x0000 0x0000>;
					#clock-cells = <1>;
				};

				clk_gates5: gate-clk@00e4 {
					compatible = "rockchip,rk3188-gate-clk";
					reg = <0x00e4 0x4>;
					clocks =
						<&pclk_cpu_pre>,		<&aclk_peri_pre>,
						<&pclk_peri_pre>,		<&dummy>,

						<&pclk_cpu_pre>,		<&dummy>,
						<&hclk_cpu_pre>,		<&pclk_cpu_pre>,

						<&dummy>,		<&hclk_peri_pre>,
						<&hclk_peri_pre>,		<&hclk_peri_pre>,

						<&dummy>,		<&hclk_peri_pre>,
						<&pclk_cpu_pre>,		<&dummy>;

					clock-output-names =
						"g_pclk_mipiphy",		"g_aclk_dmac",
						"g_pclk_efuse",	"reserved",

						"g_pclk_grf",		"reserved",
						"g_hclk_rom",		"g_pclk_ddrupctl",

						"reserved",		"g_hclk_nandc",
						"g_hclk_sdmmc0",		"g_hclk_sdio",

						"reserved",		"g_hclk_otg0",
						"g_pclk_acodec",		"reserved";

					rockchip,suspend-clkgating-setting = <0x0000 0x0000>;

					#clock-cells = <1>;
				};

				clk_gates6: gate-clk@00e8 {
					compatible = "rockchip,rk3188-gate-clk";
					reg = <0x00e8 0x4>;
					clocks =
						<&aclk_vio0_pre>,		<&hclk_vio_pre>,
						<&dummy>,		<&dummy>,

						<&hclk_vio_pre>,		<&aclk_vio0_pre>,
						<&dummy>,		<&dummy>,

						<&dummy>,		<&dummy>,
						<&hclk_vio_pre>,			<&aclk_vio0_pre>,

						<&hclk_vio_pre>,		<&aclk_vio0_pre>,
						<&dummy>,		<&dummy>;

					clock-output-names =
						"g_aclk_lcdc0",		"g_hclk_lcdc0",
						"reserved",		"reserved",

						"g_hclk_cif",		"g_aclk_cif",
						"reserved",		"reserved",

						"reserved",		"reserved",
						"g_hclk_rga",		"g_aclk_rga",

						"g_hclk_vio_bus",		"g_aclk_vio",
						"reserved",		"reserved";

					rockchip,suspend-clkgating-setting = <0x0000 0x0000>;

					#clock-cells = <1>;
				};

				clk_gates7: gate-clk@00ec {
					compatible = "rockchip,rk3188-gate-clk";
					reg = <0x00ec 0x4>;
					clocks =
						<&hclk_peri_pre>,		<&hclk_peri_pre>,
						<&hclk_peri_pre>,		<&hclk_peri_pre>,

						<&hclk_peri_pre>,		<&dummy>,
						<&dummy>,		<&pclk_peri_pre>,

						<&dummy>,		<&dummy>,
						<&pclk_peri_pre>,		<&dummy>,

						<&pclk_peri_pre>,		<&dummy>,
						<&pclk_peri_pre>,		<&pclk_peri_pre>;

					clock-output-names =
						"g_hclk_emmc",		"g_hclk_sfc",
						"g_hclk_i2s_2ch",		"g_hclk_host",

						"g_hclk_i2s_8ch",		"reserved",
						"reserved",		"g_pclk_timer",

						"reserved",		"reserved",
						"g_pclk_pwm",		"reserved",

						"g_pclk_spi0",		"reserved",
						"g_pclk_saradc",		"g_pclk_wdt";

					rockchip,suspend-clkgating-setting = <0x0000 0x0000>;

					#clock-cells = <1>;
				};

				clk_gates8: gate-clk@00f0 {
					compatible = "rockchip,rk3188-gate-clk";
					reg = <0x00f0 0x4>;
					clocks =
						<&pclk_peri_pre>,		<&pclk_peri_pre>,
						<&pclk_peri_pre>,		<&dummy>,

						<&pclk_peri_pre>,		<&pclk_peri_pre>,
						<&pclk_peri_pre>,		<&pclk_peri_pre>,

						<&dummy>,		<&pclk_peri_pre>,
						<&pclk_peri_pre>,		<&pclk_peri_pre>,

						<&pclk_peri_pre>,		<&dummy>,
						<&dummy>,		<&dummy>;

					clock-output-names =
						"g_pclk_uart0",		"g_pclk_uart1",
						"g_pclk_uart2",		"reserved",

						"g_pclk_i2c0",		"g_pclk_i2c1",
						"g_pclk_i2c2",		"g_pclk_i2c3",

						"reserved",		"g_pclk_gpio0",
						"g_pclk_gpio1",		"g_pclk_gpio2",

						"g_pclk_gpio3",		"reserved",
						"reserved",		"reserved";

                                        rockchip,suspend-clkgating-setting=<0x0000 0x0000>;
					#clock-cells = <1>;
				};

				clk_gates9: gate-clk@00f4 {
					compatible = "rockchip,rk3188-gate-clk";
					reg = <0x00f4 0x4>;
					clocks =
						<&dummy>,		<&dummy>,
						<&pclk_pmu_pre>,		<&pclk_pmu_pre>,

						<&dummy>,		<&hclk_vio_pre>,
						<&hclk_vio_pre>,		<&hclk_vio_pre>,

						<&aclk_vio1_pre>,		<&hclk_vio_pre>,
						<&aclk_vio1_pre>,		<&dummy>,

						<&pclk_peri_pre>,		<&hclk_peri_pre>,
						<&hclk_peri_pre>,		<&aclk_peri_pre>;

					clock-output-names =
						"reserved",		"reserved",
						"g_pclk_pmu",		"g_pclk_pmu_noc",

						"reserved",		"g_hclk_vio_h2p",
						"g_pclk_mipi",		"g_hclk_iep",

						"g_aclk_iep",		"g_hclk_ebc",
						"g_aclk_vio1_niu",		"reserved",

						"g_pclk_sim_card",		"g_hclk_usb_peri",
						"g_hclk_pe_arbi",		"g_aclk_peri_niu";

					rockchip,suspend-clkgating-setting=<0x0 0x0>;

					#clock-cells = <1>;
				};

				clk_gates10: gate-clk@00f8 {
					compatible = "rockchip,rk3188-gate-clk";
					reg = <0x00f8 0x4>;
					clocks =
						<&xin24m>,		<&xin24m>,
						<&xin24m>,		<&xin24m>,

						<&xin24m>,		<&xin24m>,
						<&xin24m>,		<&xin24m>,

						<&xin24m>,		<&hclk_peri_pre>,
						<&aclk_peri_pre>,		<&pclk_peri_pre>,

						<&hclk_peri_pre>,		<&clk_tsp_in>,
						<&hclk_peri_pre>,		<&clk_nandc>;

					clock-output-names =
						"clk_pvtm_core",		"clk_pvtm_gpu",
						"clk_pvtm_func",		"clk_timer0",

						"clk_timer1",		"clk_timer2",
						"clk_timer3",		"clk_timer4",

						"clk_timer5",		"g_hclk_spdif",
						"g_aclk_gmac",		"g_pclk_gmac",

						"g_hclk_tsp",		"g_clkin0_tsp",
						"g_hclk_usbhost",		"clk_nandc";

					rockchip,suspend-clkgating-setting = <0x0 0x0>;	/* pwm logic vol */

					#clock-cells = <1>;
				};

			};
		};
	};
};
